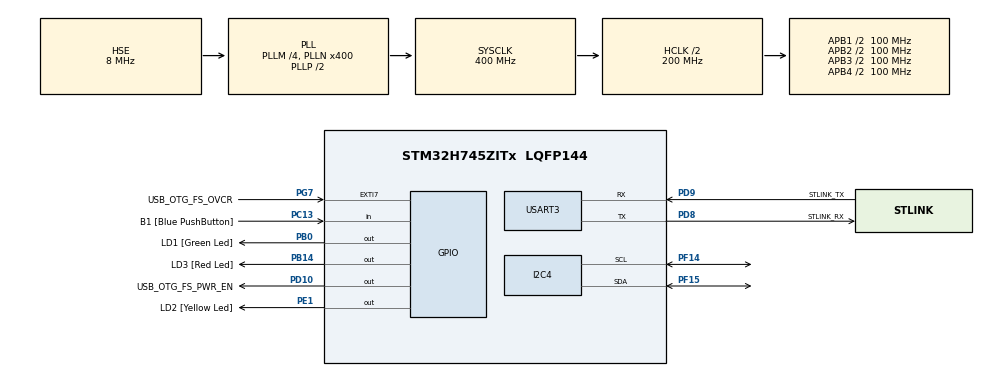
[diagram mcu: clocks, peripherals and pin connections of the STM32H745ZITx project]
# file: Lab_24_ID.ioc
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CortexM4.IPs=FATFS_M4\:I,FREERTOS_M4\:I,IWDG2\:I,RCC,WWDG2\:I,DMA,BDMA,MDMA,NVIC2\:I,USART3,ETH,DEBUG,PDM2PCM_M4\:I,PWR,RESMGR_UTILITY,SYS_M4\:I,USB_DEVICE_M4\:I,USB_HOST_M4\:I,CORTEX_M4\:I,GPIO,OPENAMP_M4\:I,VREFBUF
CortexM7.IPs=FATFS_M7\:I,FREERTOS_M7\:I,IWDG1\:I,RCC\:I,WWDG1\:I,DMA\:I,BDMA\:I,MDMA\:I,NVIC1\:I,SYS\:I,USART3\:I,USB_OTG_FS\:I,ETH\:I,CORTEX_M7\:I,DEBUG\:I,PDM2PCM_M7\:I,PWR\:I,RESMGR_UTILITY\:I,USB_DEVICE_M7\:I,USB_HOST_M7\:I,GPIO\:I,OPENAMP_M7\:I,VREFBUF\:I,I2C4\:I
CortexM7.Pins=PB0,PB14,PE1
I2C4.Timing=0x10C0ECFF
Mcu.Family=STM32H7
Mcu.Name=STM32H745ZITx
Mcu.Package=LQFP144
NVIC1.PriorityGroup=NVIC_PRIORITYGROUP_4
NVIC2.PriorityGroup=NVIC_PRIORITYGROUP_4
PA1.PinAttribute=CortexM7
PA1.Signal=ETH_REF_CLK
PA11.PinAttribute=CortexM7
PA11.Signal=USB_OTG_FS_DM
PA12.PinAttribute=CortexM7
PA12.Signal=USB_OTG_FS_DP
PA2.PinAttribute=CortexM7
PA2.Signal=ETH_MDIO
PA7.PinAttribute=CortexM7
PA7.Signal=ETH_CRS_DV
PA8.PinAttribute=CortexM7
PA8.Signal=USB_OTG_FS_SOF
PA9.PinAttribute=CortexM7
PA9.Signal=USB_OTG_FS_VBUS
PB0.GPIO_Label=LD1 [Green Led]
PB0.PinAttribute=CortexM7
PB0.Signal=GPIO_Output
PB13.PinAttribute=CortexM7
PB13.Signal=ETH_TXD1
PB14.GPIO_Label=LD3 [Red Led]
PB14.PinAttribute=CortexM7
PB14.Signal=GPIO_Output
PC1.PinAttribute=CortexM7
PC1.Signal=ETH_MDC
PC13.GPIO_Label=B1 [Blue PushButton]
PC13.PinAttribute=Free
PC13.Signal=GPIO_Input
PC14-OSC32_IN\ (OSC32_IN).PinAttribute=CortexM7
PC14-OSC32_IN\ (OSC32_IN).Signal=RCC_OSC32_IN
PC15-OSC32_OUT\ (OSC32_OUT).PinAttribute=CortexM7
PC15-OSC32_OUT\ (OSC32_OUT).Signal=RCC_OSC32_OUT
PC4.PinAttribute=CortexM7
PC4.Signal=ETH_RXD0
PC5.PinAttribute=CortexM7
PC5.Signal=ETH_RXD1
PD10.GPIO_Label=USB_OTG_FS_PWR_EN
PD10.PinAttribute=Free
PD10.Signal=GPIO_Output
PD8.GPIO_Label=STLINK_RX
PD8.Mode=Asynchronous
PD8.PinAttribute=CortexM7
PD8.Signal=USART3_TX
PD9.GPIO_Label=STLINK_TX
PD9.Mode=Asynchronous
PD9.PinAttribute=CortexM7
PD9.Signal=USART3_RX
PE1.GPIO_Label=LD2 [Yellow Led]
PE1.PinAttribute=CortexM7
PE1.Signal=GPIO_Output
PF14.Mode=I2C
PF14.PinAttribute=CortexM7
PF14.Signal=I2C4_SCL
PF15.Mode=I2C
PF15.PinAttribute=CortexM7
PF15.Signal=I2C4_SDA
PG11.PinAttribute=CortexM7
PG11.Signal=ETH_TX_EN
PG13.PinAttribute=CortexM7
PG13.Signal=ETH_TXD0
PG7.GPIO_Label=USB_OTG_FS_OVCR
PG7.PinAttribute=Free
PG7.Signal=GPXTI7
PH0-OSC_IN\ (PH0).Mode=HSE-External-Clock-Source
PH0-OSC_IN\ (PH0).PinAttribute=CortexM7
PH0-OSC_IN\ (PH0).Signal=RCC_OSC_IN
PH1-OSC_OUT\ (PH1).PinAttribute=CortexM7
PH1-OSC_OUT\ (PH1).Signal=RCC_OSC_OUT
ProjectManager.HeapSize=M4-0x200,M7-0x200
ProjectManager.StackSize=M4-0x400,M7-0x400
ProjectManager.TargetToolchain=STM32CubeIDE
RCC.ADCFreq_Value=16125000
RCC.APB1Freq_Value=100000000
RCC.APB2Freq_Value=100000000
RCC.APB3Freq_Value=100000000
RCC.APB4Freq_Value=100000000
RCC.CortexFreq_Value=400000000
RCC.D1PPRE=RCC_APB3_DIV2
RCC.D2PPRE1=RCC_APB1_DIV2
RCC.D2PPRE2=RCC_APB2_DIV2
RCC.D3PPRE=RCC_APB4_DIV2
RCC.DIVM1=4
RCC.DIVM3=22
RCC.DIVN1=400
RCC.DIVN3=169
RCC.DIVQ3=4
RCC.HCLKFreq_Value=200000000
RCC.HPRE=RCC_HCLK_DIV2
RCC.HSE_VALUE=8000000
RCC.PLL2FRACN=0
RCC.PLL3FRACN=0
RCC.PLLFRACN=0
RCC.PLLSourceVirtual=RCC_PLLSOURCE_HSE
RCC.SYSCLKFreq_VALUE=400000000
RCC.SYSCLKSource=RCC_SYSCLKSOURCE_PLLCLK
RCC.SupplySource=PWR_DIRECT_SMPS_SUPPLY
RCC.USBCLockSelection=RCC_USBCLKSOURCE_PLL3
RCC.USBFreq_Value=15363636.363636363
USART3.VirtualMode-Asynchronous=VM_ASYNC
VP_SYS_M4_VS_Systick.Mode=SysTick
board=NUCLEO-H745ZI-Q

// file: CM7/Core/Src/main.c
/* USER CODE BEGIN Header */
/**
  ******************************************************************************
  * @file           : main.c
  * @brief          : Main program body
  ******************************************************************************
  * @attention
  *
  * Copyright (c) 2023 STMicroelectronics.
  * All rights reserved.
  *
  * This software is licensed under terms that can be found in the LICENSE file
  * in the root directory of this software component.
  * If no LICENSE file comes with this software, it is provided AS-IS.
  *
  ******************************************************************************
  */
/* USER CODE END Header */
#include "main.h"

/* USER CODE BEGIN Includes */
#include <stdio.h>
#include "pn532_stm32h7.h"
/* USER CODE END Includes */

/* USER CODE BEGIN PD */

#ifndef HSEM_ID_0
#define HSEM_ID_0 (0U) /* HW semaphore 0*/
#endif
/* USER CODE END PD */

I2C_HandleTypeDef hi2c4;

UART_HandleTypeDef huart3;

/* USER CODE BEGIN PV */
PN532 pn532;
/* USER CODE END PV */

void SystemClock_Config(void);
static void MX_GPIO_Init(void);
static void MX_I2C4_Init(void);
static void MX_USART3_UART_Init(void);
/* USER CODE BEGIN PFP */
#ifdef __GNUC__
/* With GCC/RAISONANCE, small printf (option LD Linker->Libraries->Small printf
   set to 'Yes') calls __io_putchar() */
#define PUTCHAR_PROTOTYPE int __io_putchar(int ch)
#else
#define PUTCHAR_PROTOTYPE int fputc(int ch, FILE *f)
#endif /* __GNUC__ */
/* USER CODE END PFP */

/* USER CODE BEGIN 0 */
typedef struct {
	uint8_t state;

	GPIO_TypeDef* ports[3];
	uint16_t pins[3];
	uint32_t ticks[3];

} StateMachine;

StateMachine state_machine_init() {
	StateMachine state_machine;

	state_machine.ports[0] = LD1_GPIO_Port;
	state_machine.ports[1] = LD2_GPIO_Port;
	state_machine.ports[2] = LD3_GPIO_Port;

	state_machine.pins[0] = LD1_Pin;
	state_machine.pins[1] = LD2_Pin;
	state_machine.pins[2] = LD3_Pin;

	uint32_t now = HAL_GetTick();

	state_machine.ticks[0] = now;
	state_machine.ticks[1] = now;
	state_machine.ticks[2] = now;

	for (uint8_t state = 0; state < 3; state++) {
		HAL_GPIO_WritePin(state_machine.ports[state], state_machine.pins[state], GPIO_PIN_RESET);
	}

	return state_machine;
}

void activate_rfid(StateMachine* state_machine, uint8_t rfid_id) {
	state_machine->ticks[rfid_id] = HAL_GetTick();
	HAL_GPIO_WritePin(state_machine->ports[rfid_id], state_machine->pins[rfid_id], GPIO_PIN_SET);
}

void spin(StateMachine* state_machine) {
	uint32_t now = HAL_GetTick();
	for (int i = 0; i < 3; i++) {
		if (now - state_machine->ticks[i] > 1000) {
			HAL_GPIO_WritePin(state_machine->ports[i], state_machine->pins[i], GPIO_PIN_RESET);
		}
	}
}

uint8_t compare_rfids(uint8_t rfid[], uint8_t known_rfid[], int32_t len) {
	for (int32_t i = 0; i < len; i++) {
		if (rfid[i] != known_rfid[i]) {
			return 0;
		}
	}
	return 1;
}

/* USER CODE END 0 */

int main(void)
{
  /* USER CODE BEGIN 1 */
  uint8_t buff[255];
  uint8_t uid[MIFARE_UID_MAX_LENGTH];
  int32_t uid_len = 0;
  /* USER CODE END 1 */
/* USER CODE BEGIN Boot_Mode_Sequence_0 */
  int32_t timeout;
/* USER CODE END Boot_Mode_Sequence_0 */

/* USER CODE BEGIN Boot_Mode_Sequence_1 */
  /* Wait until CPU2 boots and enters in stop mode or timeout*/
  timeout = 0xFFFF;
  while((__HAL_RCC_GET_FLAG(RCC_FLAG_D2CKRDY) != RESET) && (timeout-- > 0));
  if ( timeout < 0 )
  {
  Error_Handler();
  }
/* USER CODE END Boot_Mode_Sequence_1 */
  /* MCU Configuration--------------------------------------------------------*/

  /* Reset of all peripherals, Initializes the Flash interface and the Systick. */
  HAL_Init();

  /* Configure the system clock */
  SystemClock_Config();
/* USER CODE BEGIN Boot_Mode_Sequence_2 */
/* When system initialization is finished, Cortex-M7 will release Cortex-M4 by means of
HSEM notification */
/*HW semaphore Clock enable*/
__HAL_RCC_HSEM_CLK_ENABLE();
/*Take HSEM */
HAL_HSEM_FastTake(HSEM_ID_0);
/*Release HSEM in order to notify the CPU2(CM4)*/
HAL_HSEM_Release(HSEM_ID_0,0);
/* wait until CPU2 wakes up from stop mode */
timeout = 0xFFFF;
while((__HAL_RCC_GET_FLAG(RCC_FLAG_D2CKRDY) == RESET) && (timeout-- > 0));
if ( timeout < 0 )
{
Error_Handler();
}
/* USER CODE END Boot_Mode_Sequence_2 */

  /* Initialize all configured peripherals */
  MX_GPIO_Init();
  MX_I2C4_Init();
  MX_USART3_UART_Init();
  /* USER CODE BEGIN 2 */

  StateMachine state_machine = state_machine_init();

  uint8_t rfid0[] = {0x7a, 0xb2, 0x38, 0xdb};
  uint8_t rfid1[] = {0xfa, 0x10, 0x30, 0xdb};
  uint8_t rfid2[] = {0x4a, 0x06, 0x68, 0xdb};

  printf("Hello!\r\n");
  PN532_Init(&pn532);
  PN532_GetFirmwareVersion(&pn532, buff);
  if (PN532_GetFirmwareVersion(&pn532, buff) == PN532_STATUS_OK) {
    printf("Found PN532 with firmware version: %d.%d\r\n", buff[1], buff[2]);
  } else {
    Error_Handler();
  }
  PN532_SamConfiguration(&pn532);
  printf("Waiting for RFID/NFC card...\r\n");
  /* USER CODE END 2 */

  /* Infinite loop */
  while (1)
  {

    /* USER CODE BEGIN 3 */
    // Check if a card is available to read
    uid_len = PN532_ReadPassiveTarget(&pn532, uid, PN532_MIFARE_ISO14443A, 1000);
    if (uid_len == PN532_STATUS_ERROR) {
      printf(".");
      fflush(stdout);
    } else {
      printf("Found card with UID: ");
      for (uint8_t i = 0; i < uid_len; i++) {
        printf("%02x ", uid[i]);
      }
      printf("\r\n");

      uint8_t rfid_id = 8;
      if (compare_rfids(uid, rfid0, uid_len) == 1) {
    	  rfid_id = 0;
      }
      if (compare_rfids(uid, rfid1, uid_len) == 1) {
		  rfid_id = 1;
	  }
      if (compare_rfids(uid, rfid2, uid_len) == 1) {
		  rfid_id = 2;
	  }

      if (rfid_id != 8) {
    	  activate_rfid(&state_machine, rfid_id);
      }

      printf("%d\r\n", rfid_id);
    }
    spin(&state_machine);
  }
  /* USER CODE END 3 */
}

void SystemClock_Config(void)
{
  RCC_OscInitTypeDef RCC_OscInitStruct = {0};
  RCC_ClkInitTypeDef RCC_ClkInitStruct = {0};

  /** Supply configuration update enable
  */
  HAL_PWREx_ConfigSupply(PWR_DIRECT_SMPS_SUPPLY);

  /** Configure the main internal regulator output voltage
  */
  __HAL_PWR_VOLTAGESCALING_CONFIG(PWR_REGULATOR_VOLTAGE_SCALE1);

  while(!__HAL_PWR_GET_FLAG(PWR_FLAG_VOSRDY)) {}

  /** Initializes the RCC Oscillators according to the specified parameters
  * in the RCC_OscInitTypeDef structure.
  */
  RCC_OscInitStruct.OscillatorType = RCC_OSCILLATORTYPE_HSE;
  RCC_OscInitStruct.HSEState = RCC_HSE_BYPASS;
  RCC_OscInitStruct.PLL.PLLState = RCC_PLL_ON;
  RCC_OscInitStruct.PLL.PLLSource = RCC_PLLSOURCE_HSE;
  RCC_OscInitStruct.PLL.PLLM = 4;
  RCC_OscInitStruct.PLL.PLLN = 400;
  RCC_OscInitStruct.PLL.PLLP = 2;
  RCC_OscInitStruct.PLL.PLLQ = 2;
  RCC_OscInitStruct.PLL.PLLR = 2;
  RCC_OscInitStruct.PLL.PLLRGE = RCC_PLL1VCIRANGE_1;
  RCC_OscInitStruct.PLL.PLLVCOSEL = RCC_PLL1VCOWIDE;
  RCC_OscInitStruct.PLL.PLLFRACN = 0;
  if (HAL_RCC_OscConfig(&RCC_OscInitStruct) != HAL_OK)
  {
    Error_Handler();
  }

  /** Initializes the CPU, AHB and APB buses clocks
  */
  RCC_ClkInitStruct.ClockType = RCC_CLOCKTYPE_HCLK|RCC_CLOCKTYPE_SYSCLK
                              |RCC_CLOCKTYPE_PCLK1|RCC_CLOCKTYPE_PCLK2
                              |RCC_CLOCKTYPE_D3PCLK1|RCC_CLOCKTYPE_D1PCLK1;
  RCC_ClkInitStruct.SYSCLKSource = RCC_SYSCLKSOURCE_PLLCLK;
  RCC_ClkInitStruct.SYSCLKDivider = RCC_SYSCLK_DIV1;
  RCC_ClkInitStruct.AHBCLKDivider = RCC_HCLK_DIV2;
  RCC_ClkInitStruct.APB3CLKDivider = RCC_APB3_DIV2;
  RCC_ClkInitStruct.APB1CLKDivider = RCC_APB1_DIV2;
  RCC_ClkInitStruct.APB2CLKDivider = RCC_APB2_DIV2;
  RCC_ClkInitStruct.APB4CLKDivider = RCC_APB4_DIV2;

  if (HAL_RCC_ClockConfig(&RCC_ClkInitStruct, FLASH_LATENCY_2) != HAL_OK)
  {
    Error_Handler();
  }
}

static void MX_I2C4_Init(void)
{

  hi2c4.Instance = I2C4;
  hi2c4.Init.Timing = 0x10C0ECFF;
  hi2c4.Init.OwnAddress1 = 0;
  hi2c4.Init.AddressingMode = I2C_ADDRESSINGMODE_7BIT;
  hi2c4.Init.DualAddressMode = I2C_DUALADDRESS_DISABLE;
  hi2c4.Init.OwnAddress2 = 0;
  hi2c4.Init.OwnAddress2Masks = I2C_OA2_NOMASK;
  hi2c4.Init.GeneralCallMode = I2C_GENERALCALL_DISABLE;
  hi2c4.Init.NoStretchMode = I2C_NOSTRETCH_DISABLE;
  if (HAL_I2C_Init(&hi2c4) != HAL_OK)
  {
    Error_Handler();
  }

  /** Configure Analogue filter
  */
  if (HAL_I2CEx_ConfigAnalogFilter(&hi2c4, I2C_ANALOGFILTER_ENABLE) != HAL_OK)
  {
    Error_Handler();
  }

  /** Configure Digital filter
  */
  if (HAL_I2CEx_ConfigDigitalFilter(&hi2c4, 0) != HAL_OK)
  {
    Error_Handler();
  }

}

static void MX_USART3_UART_Init(void)
{

  huart3.Instance = USART3;
  huart3.Init.BaudRate = 115200;
  huart3.Init.WordLength = UART_WORDLENGTH_8B;
  huart3.Init.StopBits = UART_STOPBITS_1;
  huart3.Init.Parity = UART_PARITY_NONE;
  huart3.Init.Mode = UART_MODE_TX_RX;
  huart3.Init.HwFlowCtl = UART_HWCONTROL_NONE;
  huart3.Init.OverSampling = UART_OVERSAMPLING_16;
  huart3.Init.OneBitSampling = UART_ONE_BIT_SAMPLE_DISABLE;
  huart3.Init.ClockPrescaler = UART_PRESCALER_DIV1;
  huart3.AdvancedInit.AdvFeatureInit = UART_ADVFEATURE_NO_INIT;
  if (HAL_UART_Init(&huart3) != HAL_OK)
  {
    Error_Handler();
  }
  if (HAL_UARTEx_SetTxFifoThreshold(&huart3, UART_TXFIFO_THRESHOLD_1_8) != HAL_OK)
  {
    Error_Handler();
  }
  if (HAL_UARTEx_SetRxFifoThreshold(&huart3, UART_RXFIFO_THRESHOLD_1_8) != HAL_OK)
  {
    Error_Handler();
  }
  if (HAL_UARTEx_DisableFifoMode(&huart3) != HAL_OK)
  {
    Error_Handler();
  }

}

static void MX_GPIO_Init(void)
{
  GPIO_InitTypeDef GPIO_InitStruct = {0};

  /* GPIO Ports Clock Enable */
  __HAL_RCC_GPIOC_CLK_ENABLE();
  __HAL_RCC_GPIOH_CLK_ENABLE();
  __HAL_RCC_GPIOA_CLK_ENABLE();
  __HAL_RCC_GPIOB_CLK_ENABLE();
  __HAL_RCC_GPIOF_CLK_ENABLE();
  __HAL_RCC_GPIOD_CLK_ENABLE();
  __HAL_RCC_GPIOG_CLK_ENABLE();
  __HAL_RCC_GPIOE_CLK_ENABLE();

  /*Configure GPIO pin Output Level */
  HAL_GPIO_WritePin(GPIOB, LD1_Pin|LD3_Pin, GPIO_PIN_RESET);

  /*Configure GPIO pin Output Level */
  HAL_GPIO_WritePin(LD2_GPIO_Port, LD2_Pin, GPIO_PIN_RESET);

  /*Configure GPIO pins : PC1 PC4 PC5 */
  GPIO_InitStruct.Pin = GPIO_PIN_1|GPIO_PIN_4|GPIO_PIN_5;
  GPIO_InitStruct.Mode = GPIO_MODE_AF_PP;
  GPIO_InitStruct.Pull = GPIO_NOPULL;
  GPIO_InitStruct.Speed = GPIO_SPEED_FREQ_LOW;
  GPIO_InitStruct.Alternate = GPIO_AF11_ETH;
  HAL_GPIO_Init(GPIOC, &GPIO_InitStruct);

  /*Configure GPIO pins : PA1 PA2 PA7 */
  GPIO_InitStruct.Pin = GPIO_PIN_1|GPIO_PIN_2|GPIO_PIN_7;
  GPIO_InitStruct.Mode = GPIO_MODE_AF_PP;
  GPIO_InitStruct.Pull = GPIO_NOPULL;
  GPIO_InitStruct.Speed = GPIO_SPEED_FREQ_LOW;
  GPIO_InitStruct.Alternate = GPIO_AF11_ETH;
  HAL_GPIO_Init(GPIOA, &GPIO_InitStruct);

  /*Configure GPIO pins : LD1_Pin LD3_Pin */
  GPIO_InitStruct.Pin = LD1_Pin|LD3_Pin;
  GPIO_InitStruct.Mode = GPIO_MODE_OUTPUT_PP;
  GPIO_InitStruct.Pull = GPIO_NOPULL;
  GPIO_InitStruct.Speed = GPIO_SPEED_FREQ_LOW;
  HAL_GPIO_Init(GPIOB, &GPIO_InitStruct);

  /*Configure GPIO pin : PB13 */
  GPIO_InitStruct.Pin = GPIO_PIN_13;
  GPIO_InitStruct.Mode = GPIO_MODE_AF_PP;
  GPIO_InitStruct.Pull = GPIO_NOPULL;
  GPIO_InitStruct.Speed = GPIO_SPEED_FREQ_LOW;
  GPIO_InitStruct.Alternate = GPIO_AF11_ETH;
  HAL_GPIO_Init(GPIOB, &GPIO_InitStruct);

  /*Configure GPIO pins : PA8 PA11 PA12 */
  GPIO_InitStruct.Pin = GPIO_PIN_8|GPIO_PIN_11|GPIO_PIN_12;
  GPIO_InitStruct.Mode = GPIO_MODE_AF_PP;
  GPIO_InitStruct.Pull = GPIO_NOPULL;
  GPIO_InitStruct.Speed = GPIO_SPEED_FREQ_LOW;
  GPIO_InitStruct.Alternate = GPIO_AF10_OTG1_FS;
  HAL_GPIO_Init(GPIOA, &GPIO_InitStruct);

  /*Configure GPIO pins : PG11 PG13 */
  GPIO_InitStruct.Pin = GPIO_PIN_11|GPIO_PIN_13;
  GPIO_InitStruct.Mode = GPIO_MODE_AF_PP;
  GPIO_InitStruct.Pull = GPIO_NOPULL;
  GPIO_InitStruct.Speed = GPIO_SPEED_FREQ_LOW;
  GPIO_InitStruct.Alternate = GPIO_AF11_ETH;
  HAL_GPIO_Init(GPIOG, &GPIO_InitStruct);

  /*Configure GPIO pin : LD2_Pin */
  GPIO_InitStruct.Pin = LD2_Pin;
  GPIO_InitStruct.Mode = GPIO_MODE_OUTPUT_PP;
  GPIO_InitStruct.Pull = GPIO_NOPULL;
  GPIO_InitStruct.Speed = GPIO_SPEED_FREQ_LOW;
  HAL_GPIO_Init(LD2_GPIO_Port, &GPIO_InitStruct);

}

/* USER CODE BEGIN 4 */
/**
  * @brief  Retargets the C library printf function to the USART.
  * @param  None
  * @retval None
  */
PUTCHAR_PROTOTYPE
{
  /* Place your implementation of fputc here */
  /* e.g. write a character to the USARTx and Loop until the end of transmission */
  HAL_UART_Transmit(&huart3, (uint8_t *)&ch, 1, HAL_MAX_DELAY);

  return ch;
}
/* USER CODE END 4 */

void Error_Handler(void)
{
  __disable_irq();
  while (1)
  {
  }
}
